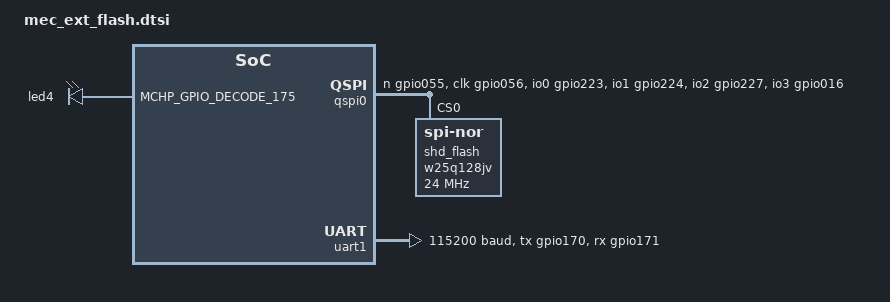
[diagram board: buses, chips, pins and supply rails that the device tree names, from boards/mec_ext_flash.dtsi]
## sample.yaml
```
tests:
  boards.mchp_mec.qspi:
    build_only: true
    platform_allow:
      - mec_assy6906/mech1723_nsz
      - mec_assy6906/mech1723_nlj
      - mec_assy6941/mec1743_qlj
      - mec_assy6941/mec1743_qsz
      - mec_assy6941/mec1753_qlj
      - mec_assy6941/mec1753_qsz
    tags: drivers spi
```

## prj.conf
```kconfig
CONFIG_LOG=y
CONFIG_LOG_MODE_IMMEDIATE=y
##CONFIG_LOG_MODE_MINIMAL=y
#CONFIG_LOG_MODE_DEFERRED=y
#CONFIG_LOG_BUFFER_SIZE=2048
CONFIG_LOG_BACKEND_UART=y
#CONFIG_LOG_BACKEND_SWO=y
#CONFIG_LOG_BACKEND_SWO_REF_FREQ_HZ=96000000
#CONFIG_LOG_BACKEND_SWO_FREQ_HZ=4000000

CONFIG_GPIO=y
CONFIG_PINCTRL=y
CONFIG_LED=y
CONFIG_SERIAL=y
CONFIG_CONSOLE=y
CONFIG_UART_CONSOLE=y

CONFIG_SPI=y
CONFIG_SPI_ASYNC=y
CONFIG_SPI_EXTENDED_MODES=y

# SPI NOR driver uses SPI driver to access flash device
CONFIG_FLASH=y
CONFIG_SPI_NOR=y
CONFIG_FLASH_JESD216_API=y

# CONFIG_PM=n

# Help debug new code
# CONFIG_DEBUG_COREDUMP=y
# CONFIG_TRAP_UNALIGNED_ACCESS=y
CONFIG_DEBUG=y
```

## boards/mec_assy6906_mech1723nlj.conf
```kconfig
# MECH1723N-LJ package does not include an internal SPI flash.
# We use the Microchip assembly 6xxx dongle connected to EVB J18.
# The dongle has a Winbond W25Q128JV SPI flash which supports SFDP
# and quad mode.
CONFIG_SPI_NOR_SFDP_MINIMAL=y
```

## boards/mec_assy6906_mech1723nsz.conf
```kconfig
# MECH1723N-SZ package does not include an internal SPI flash.
# We use the Microchip assembly 6xxx dongle connected to EVB J18.
# The dongle has a Winbond W25Q128JV SPI flash which supports SFDP
# and quad mode.
CONFIG_SPI_NOR_SFDP_MINIMAL=y
```

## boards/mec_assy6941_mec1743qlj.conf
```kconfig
# MEC1743Q-LJ package does not include an internal SPI flash.
# We use the Microchip assembly 6xxx dongle connected to EVB J18.
# The dongle has a Winbond W25Q128JV SPI flash which supports SFDP
# and quad mode.
CONFIG_SPI_NOR_SFDP_MINIMAL=y
```

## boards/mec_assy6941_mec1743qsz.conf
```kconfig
# MEC1743Q-SZ package does not include an internal SPI flash.
# We use the Microchip assembly 6xxx dongle connected to EVB J18.
# The dongle has a Winbond W25Q128JV SPI flash which supports SFDP
# and quad mode.
CONFIG_SPI_NOR_SFDP_MINIMAL=y
```

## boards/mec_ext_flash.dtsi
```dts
/*
 * Copyright (c) 2024 Microchip Technology Inc.
 *
 * SPDX-License-Identifier: Apache-2.0
 */

#include <zephyr/dt-bindings/gpio/gpio.h>
#include <zephyr/dt-bindings/gpio/microchip-xec-gpio.h>
#include <zephyr/dt-bindings/pinctrl/mchp-xec-pinctrl.h>

/*
 * MEC5_ASSY6941 EVT with MEC1743, MEC5402, or MEC5502
 * SPI flash dongle Assembly 6791 connected to J18
 * Select VTR2 for J18. ???
 * VTR2 set to +3.3V. JP43 1-2, J68 1-2, JP62 1-2, JP65 1-2
 *
 * Flash dongle has Winbond W25Q128JV
 * Flash dongle using QSPI shared SPI pins.
 * NOTE: If W25Q128JV Quad-Enable STATUS2 bit is 1 then nWP and nHOLD
 * signals are IO2/IO3. No write-protect or hold functionality.
 *
 * GPIO175/CMP_VOUT1/PWM8_ALT on schematic, LED4 on silkscreen.
 */

/ {
	chosen {
		zephyr,console = &uart1;
	};

	aliases {
		spi0 = &qspi0;
		led0 = &led4;
		spi-flash = &shd_flash;
		spi-flash-wp = &qspi_shd_io2_gpio227;
	};

	leds {
		compatible = "gpio-leds";
		led4: led_0 {
			gpios = <MCHP_GPIO_DECODE_175 GPIO_ACTIVE_HIGH>;
		};
	};
};

&qspi0 {
	compatible="microchip,mec5-qspi";
	status = "okay";
	pinctrl-0 = < &qspi_shd_cs0_n_gpio055 &qspi_shd_clk_gpio056
		      &qspi_shd_io0_gpio223 &qspi_shd_io1_gpio224
		      &qspi_shd_io2_gpio227 &qspi_shd_io3_gpio016 >;
	pinctrl-names = "default";

	shd_flash: w25q128jv@0 {
		compatible ="jedec,spi-nor";
		/* 16 Mbit Flash */
		size = <DT_SIZE_M(16)>;
		page-size = <256>;
		reg = <0>;
		spi-max-frequency = <DT_FREQ_M(24)>;
		status = "okay";
		jedec-id = [ef 40 18];
	};
};

&uart1 {
	current-speed = <115200>;
	status = "okay";
	pinctrl-0 = <&uart1_tx_gpio170 &uart1_rx_gpio171>;
	pinctrl-names = "default";
};
```

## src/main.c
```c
/*
 * Copyright (c) 2012-2014 Wind River Systems, Inc.
 * Copyright (c) 2024 Microchip Technology, Inc.
 *
 * SPDX-License-Identifier: Apache-2.0
 */

#include <errno.h>
#include <stdint.h>
#include <string.h>
#include <soc.h>

#include <zephyr/device.h>
#include <zephyr/devicetree.h>
#include <zephyr/kernel.h>
#include <zephyr/drivers/flash.h>
#include <zephyr/drivers/gpio.h>
#include <zephyr/drivers/led.h>
#include <zephyr/drivers/pinctrl.h>
#include <zephyr/drivers/spi.h>
#include <zephyr/sys/sys_io.h>

#include <zephyr/logging/log_ctrl.h>
#include <zephyr/logging/log.h>
LOG_MODULE_REGISTER(app, CONFIG_LOG_DEFAULT_LEVEL);

#include <mec_rom_api.h>

#define MEC540X_ROM_OTP_92_IDX 92u
#define MEC540X_ROM_OTP_94_IDX 94u

#define FLASH_TEST_PAGE_ADDR 0x1000u
#define LED0_NODE DT_ALIAS(led0)
#define FLASH_SIZE_MBIT DT_PROP(DT_ALIAS(spi_flash), size)
#define FLASH_SIZE_BYTES (FLASH_SIZE_MBIT / 8u)
#define SPI0_LINES DT_PROP(DT_ALIAS(spi0), lines)

static const struct gpio_dt_spec led0_gpio_spec = GPIO_DT_SPEC_GET(LED0_NODE, gpios);

static const struct device *spi_dev = DEVICE_DT_GET(DT_ALIAS(spi0));
static const struct device *spi_flash_dev = DEVICE_DT_GET(DT_ALIAS(spi_flash));

static const uint8_t spi_flash_page0_data[] = {
	0x00, 0x01, 0x02, 0x03, 0x04, 0x05, 0x06, 0x07,
	0x08, 0x09, 0x0a, 0x0b, 0x0c, 0x0d, 0x0e, 0x0f,
	0x10, 0x11, 0x12, 0x13, 0x14, 0x15, 0x16, 0x17,
	0x18, 0x19, 0x1a, 0x1b, 0x1c, 0x1d, 0x1e, 0x1f,
	0x20, 0x21, 0x22, 0x23, 0x24, 0x25, 0x26, 0x27,
	0x28, 0x29, 0x2a, 0x2b, 0x2c, 0x2d, 0x2e, 0x2f,
	0x30, 0x31, 0x32, 0x33, 0x34, 0x35, 0x36, 0x37,
	0x38, 0x39, 0x3a, 0x3b, 0x3c, 0x3d, 0x3e, 0x3f,
	0x40, 0x41, 0x42, 0x43, 0x44, 0x45, 0x46, 0x47,
	0x48, 0x49, 0x4a, 0x4b, 0x4c, 0x4d, 0x4e, 0x4f,
	0x50, 0x51, 0x52, 0x53, 0x54, 0x55, 0x56, 0x57,
	0x58, 0x59, 0x5a, 0x5b, 0x5c, 0x5d, 0x5e, 0x5f,
	0x60, 0x61, 0x62, 0x63, 0x64, 0x65, 0x66, 0x67,
	0x68, 0x69, 0x6a, 0x6b, 0x6c, 0x6d, 0x6e, 0x6f,
	0x70, 0x71, 0x72, 0x73, 0x74, 0x75, 0x76, 0x77,
	0x78, 0x79, 0x7a, 0x7b, 0x7c, 0x7d, 0x7e, 0x7f,
	0x80, 0x81, 0x82, 0x83, 0x84, 0x85, 0x86, 0x87,
	0x88, 0x89, 0x8a, 0x8b, 0x8c, 0x8d, 0x8e, 0x8f,
	0x90, 0x91, 0x92, 0x93, 0x94, 0x95, 0x96, 0x97,
	0x98, 0x99, 0x9a, 0x9b, 0x9c, 0x9d, 0x9e, 0x9f,
	0xa0, 0xa1, 0xa2, 0xa3, 0xa4, 0xa5, 0xa6, 0xa7,
	0xa8, 0xa9, 0xaa, 0xab, 0xac, 0xad, 0xae, 0xaf,
	0xb0, 0xb1, 0xb2, 0xb3, 0xb4, 0xb5, 0xb6, 0xb7,
	0xb8, 0xb9, 0xba, 0xbb, 0xbc, 0xbd, 0xbe, 0xbf,
	0xc0, 0xc1, 0xc2, 0xc3, 0xc4, 0xc5, 0xc6, 0xc7,
	0xc8, 0xc9, 0xca, 0xcb, 0xcc, 0xcd, 0xce, 0xcf,
	0xd0, 0xd1, 0xd2, 0xd3, 0xd4, 0xd5, 0xd6, 0xd7,
	0xd8, 0xd9, 0xda, 0xdb, 0xdc, 0xdd, 0xde, 0xdf,
	0xe0, 0xe1, 0xe2, 0xe3, 0xe4, 0xe5, 0xe6, 0xe7,
	0xe8, 0xe9, 0xea, 0xeb, 0xec, 0xed, 0xee, 0xef,
	0xf0, 0xf1, 0xf2, 0xf3, 0xf4, 0xf5, 0xf6, 0xf7,
	0xf8, 0xf9, 0xfa, 0xfb, 0xfc, 0xfd, 0xfe, 0xff,
};

const struct spi_config spi_cfg_fd_12m = {
	.frequency = MHZ(12),
	.operation = SPI_WORD_SET(8) | SPI_LINES_SINGLE,
};

#ifdef CONFIG_SPI_EXTENDED_MODES
const struct spi_config spi_cfg_dual_12m = {
	.frequency = MHZ(12),
	.operation = SPI_WORD_SET(8) | SPI_LINES_DUAL,
};

const struct spi_config spi_cfg_quad_12m = {
	.frequency = MHZ(12),
	.operation = SPI_WORD_SET(8) | SPI_LINES_QUAD,
};
#endif

static struct spi_config spi_cfg;
static volatile uint32_t spin_val;
static volatile int ret_val;

static void spin_on(uint32_t id, int rval);
static int spi_flash_read_status(int status_reg, uint8_t *status);
static int spi_flash_write_status(int status_reg, uint8_t status);
int buffer_filled_with(const uint8_t *buffer, size_t buffersz, uint8_t val);

struct spi_buf_set txbs;
struct spi_buf_set rxbs;
struct spi_buf txb[4];
struct spi_buf rxb[4];

uint8_t buf1[256];
uint8_t buf2[256];
uint8_t sector_buf[4096];

int main(void)
{
	size_t nflash_pages = 0;
	size_t flash_min_wr_block_size = 0;
	int ret, erased;
	uint32_t jedec_id, spi_addr;
#ifdef CONFIG_SPI_EXTENDED_MODES
	int ret2, ret3, ret4;
#endif
	uint16_t otp_index;
	uint8_t otp_data, spi_status;

	LOG_INF("MEC5 QSPI sample: board: %s", DT_N_P_compatible_IDX_0);

	jedec_id = mec_hal_rom_version();
	LOG_INF("ROM version = 0x%08x", jedec_id);

	otp_index = MEC540X_ROM_OTP_92_IDX;
	otp_data = 0xffu;
	ret = mec_hal_rom_otp_read_byte(otp_index, &otp_data);
	if (ret) {
		LOG_ERR("ROM Read OTP[%u] error: %d", otp_index, ret);
	} else {
		LOG_INF("ROM OTP[%u] = 0x%02x", otp_index, otp_data);
	}

	otp_index = MEC540X_ROM_OTP_94_IDX;
	otp_data = 0xffu;
	ret = mec_hal_rom_otp_read_byte(otp_index, &otp_data);
	if (ret) {
		LOG_ERR("ROM Read OTP[%u] error: %d", otp_index, ret);
	} else {
		LOG_INF("ROM OTP[%u] = 0x%02x", otp_index, otp_data);
	}

	erased = 0;
	memset(txb, 0, sizeof(txb));
	memset(rxb, 0, sizeof(rxb));

	if (!gpio_is_ready_dt(&led0_gpio_spec)) {
		LOG_ERR("GPIO LED device is not ready! (%d)", -2);
		spin_on(1u, -2);
	}

	if (!device_is_ready(spi_dev)) {
		LOG_ERR("SPI device is not ready! (%d)", -3);
		spin_on(2u, -3);
	}

	if (!device_is_ready(spi_flash_dev)) {
		LOG_ERR("Flash device is not ready! (%d)", -3);
		spin_on(3u, -3);
	}

	ret = gpio_pin_configure_dt(&led0_gpio_spec, GPIO_OUTPUT_ACTIVE);
	if (ret) {
		LOG_ERR("LED GPIO configuration error (%d)", ret);
		spin_on(4u, ret);
	}

	gpio_pin_toggle_dt(&led0_gpio_spec);
	k_sleep(K_MSEC(1000));
	gpio_pin_toggle_dt(&led0_gpio_spec);
	k_sleep(K_MSEC(1000));
	gpio_pin_toggle_dt(&led0_gpio_spec);

	nflash_pages = flash_get_page_count(spi_flash_dev);
	LOG_INF("Number of flash pages = %u", nflash_pages);

	flash_min_wr_block_size = flash_get_write_block_size(spi_flash_dev);
	LOG_INF("Flash minimum write block size = %u", flash_min_wr_block_size);

	const struct flash_parameters *flash_params = flash_get_parameters(spi_flash_dev);

	if (!flash_params) {
		LOG_ERR("Flash get parameters failed %d", ret);
		spin_on(5u, ret);
	}

	LOG_INF("Flash write block size = 0x%0x  erase value = 0x%02x",
		flash_params->write_block_size, flash_params->erase_value);

	LOG_INF("Read JEDEC ID from flash");
	jedec_id = 0;
	ret = flash_read_jedec_id(spi_flash_dev, (uint8_t *)&jedec_id);
	if (ret) {
		LOG_ERR("Flash JEDEC ID read failed: %d", ret);
		spin_on(6u, ret);
	}
	LOG_HEXDUMP_INF(&jedec_id, 3, "JEDEC-ID");

#ifndef CONFIG_SPI_NOR_SFDP_DEVICETREE
	memset(buf1, 0x55, sizeof(buf1));
	LOG_INF("Read first 64-bytes of SFDP data from flash");
	ret = flash_sfdp_read(spi_flash_dev, 0, buf1, 64u);
	if (ret) {
		LOG_ERR("Flash SFDP read failed: %d", ret);
		spin_on(7u, ret);
	}

	LOG_HEXDUMP_INF(&buf1, 64, "SFDP data");
#endif

	spi_status = 0x80u;
	ret = spi_flash_read_status(1, &spi_status);
	if (ret) {
		LOG_ERR("Read SPI flash status using SPI driver error: %d", ret);
		goto app_exit;
	}
	LOG_INF("SPI Flash STATUS1 = 0x%02x", spi_status);

	if (jedec_id == 0x001840efu) {
		ret = spi_flash_read_status(2, &spi_status);
		if (ret) {
			LOG_ERR("Read SPI flash status 2 using SPI driver error: %d", ret);
			goto app_exit;
		}
		LOG_INF("SPI Flash STATUS2 = 0x%02x", spi_status);

		ret = spi_flash_read_status(3, &spi_status);
		if (ret) {
			LOG_ERR("Read SPI flash status 3 using SPI driver error: %d", ret);
			goto app_exit;
		}
		LOG_INF("SPI Flash STATUS3 = 0x%02x", spi_status);

		if (spi_status & BIT(2)) { /* WPS set? */
			/* clear it to factory default */
			LOG_INF("WPS(bit[2]) is set. Clear it to factory default");
			ret = spi_flash_write_status(3, spi_status & ~BIT(2));
			if (ret) {
				goto app_exit;
			}
		}
	}

	spi_addr = 0;
	for (size_t n = 0; n < (FLASH_SIZE_BYTES / 4096); n++) {
		LOG_INF("Check sector at 0x%0x", spi_addr);
		memset(sector_buf, 0x55, 4096u);
		spi_addr &= 0xfffff000u;
		ret = flash_read(spi_flash_dev, spi_addr, sector_buf, 4096u);
		if (ret) {
			LOG_ERR("Flash sector read failed %d", ret);
			goto app_exit;
		}
		erased = 1;
		for (size_t m = 0; m < 4096; m++) {
			if (sector_buf[m] != 0xffu) {
				erased = 0;
				break;
			}
		}
		if (erased) {
			LOG_INF("  Sector erased");
		} else {
			LOG_INF("  Sector NOT in erased state");
		}
		spi_addr += 4096u;
	}

	memset(buf2, 0x55, sizeof(buf2));

	spi_addr = 0u;
	LOG_INF("Read Page 0 using Flash driver and check if in erased state");
	ret = flash_read(spi_flash_dev, spi_addr, buf2, 256u);
	if (ret) {
		LOG_ERR("Flash read error %d", ret);
		goto app_exit;
	}

	ret = buffer_filled_with((const uint8_t *)buf2, 256u, 0xffu);
	if (ret) {
		LOG_ERR("Page 0 not erased!");
	} else {
		LOG_INF("Page 0 is erased");
	}

	if (ret) {
		spi_addr = 0; /* Erase Sector 0 to eliminate Boot-ROM TAGs */
		LOG_INF("Erase 4KB sector 0");
		ret = flash_erase(spi_flash_dev, spi_addr, 4096u);
		if (ret) {
			LOG_ERR("Flash erase sector 0 error %d", ret);
			goto app_exit;
		}

		memset(buf2, 0x55, sizeof(buf2));
		LOG_INF("Read Page 0 using Flash driver and check if in erased state");
		ret = flash_read(spi_flash_dev, spi_addr, buf2, 256u);
		if (ret) {
			LOG_ERR("Flash read error %d", ret);
			goto app_exit;
		}

		ret = buffer_filled_with((const uint8_t *)buf2, 256u, 0xffu);
		if (ret) {
			LOG_ERR("Page 0 not erased!");
			goto app_exit;
		} else {
			LOG_INF("Page 0 is erased");
		}
	}

	spi_addr = FLASH_TEST_PAGE_ADDR;
	/* Erase sector containing test page */
	LOG_INF("Erase 4KB sector containing test page at 0x%0x", spi_addr);
	ret = flash_erase(spi_flash_dev, spi_addr, 4096u);
	if (ret) {
		LOG_ERR("Flash erase page error %d", ret);
		goto app_exit;
	}

	memset(buf2, 0x55, sizeof(buf2));
	LOG_INF("Read test page using Flash driver and check if in erased state");
	ret = flash_read(spi_flash_dev, spi_addr, buf2, 256u);
	if (ret) {
		LOG_ERR("Flash read error %d", ret);
		goto app_exit;
	}

	ret = buffer_filled_with((const uint8_t *)buf2, 256u, 0xffu);
	if (ret) {
		LOG_ERR("Page not in erased state!");
		goto app_exit;
	}

	/* Write test page with known pattern */
	LOG_INF("Write known pattern to page at 0x%0x", spi_addr);
	ret = flash_write(spi_flash_dev, spi_addr, spi_flash_page0_data, 256u);
	if (ret) {
		LOG_ERR("Flash write page error %d", ret);
		goto app_exit;
	}

	memset(buf2, 0x55, sizeof(buf2));
	LOG_INF("Read test page using Flash driver and check validity");
	ret = flash_read(spi_flash_dev, spi_addr, buf2, 256u);
	if (ret) {
		LOG_ERR("Flash read error %d", ret);
		goto app_exit;
	}

	ret = memcmp(spi_flash_page0_data, buf2, 256);
	if (ret) {
		LOG_ERR("!!! Flash driver read back of page data mismatch !!!");
		goto app_exit;
	} else {
		LOG_INF("Flash driver read back of page data matches");
	}

	LOG_INF("Read test page using SPI driver with full-duplex style buffers");
	spi_cfg.frequency = MHZ(12);
	spi_cfg.operation = SPI_WORD_SET(8) | SPI_LINES_SINGLE;

	/* read 256 bytes: this method requires the second transmit buffer
	 * to be 256 bytes in size. We re-use the rx buffer.
	 */
	memset(buf2, 0x55, sizeof(buf2));
	buf1[0] = 0x03u; /* SPI Read 1-1-1-0 */
	buf1[1] = (spi_addr >> 16) & 0xffu;
	buf1[2] = (spi_addr >> 8) & 0xffu;
	buf1[3] = spi_addr & 0xffu;

	txb[0].buf = buf1;
	txb[0].len = 4u;
	txb[1].buf = buf2;
	txb[1].len = 256u;

	rxb[0].buf = buf2;
	rxb[0].len = 4u;
	rxb[1].buf = buf2;
	rxb[1].len = 256u;

	txbs.buffers = &txb[0];
	txbs.count = 2;
	rxbs.buffers = &rxb[0];
	rxbs.count = 2;

	ret = spi_transceive(spi_dev, (const struct spi_config *)&spi_cfg, &txbs, &rxbs);
	LOG_INF("SPI xfr 1 returned (%d)", ret);

	ret = memcmp(spi_flash_page0_data, buf2, 256u);
	LOG_INF("Compare to expected (%d)", ret);

	/* read 256 bytes: Requires modified SPI driver which interprets buffers
	 * with NULL ptr and non-zero length as: TX don't drive TX lines (0)
	 * RX discard data
	 */
	LOG_INF("Read test page using SPI driver with full-duplex NULL buffer technique");

	memset(buf2, 0x55, sizeof(buf2));
	buf1[0] = 0x03u; /* SPI Read 1-1-1-0 */
	buf1[1] = (spi_addr >> 16) & 0xffu;
	buf1[2] = (spi_addr >> 8) & 0xffu;
	buf1[3] = spi_addr & 0xffu;

	txb[0].buf = buf1;
	txb[0].len = 4u;
	txb[1].buf = NULL;
	txb[1].len = 256u;

	rxb[0].buf = NULL;
	rxb[0].len = 4u;
	rxb[1].buf = buf2;
	rxb[1].len = 256u;

	txbs.buffers = &txb[0];
	txbs.count = 2;
	rxbs.buffers = &rxb[0];
	rxbs.count = 2;

	ret = spi_transceive(spi_dev, (const struct spi_config *)&spi_cfg, &txbs, &rxbs);
	LOG_INF("SPI xfr 2 returned (%d)", ret);

	/* Passed */
	ret = memcmp(spi_flash_page0_data, buf2, 256u);
	LOG_INF("Compare to expected (%d)", ret);

#ifdef CONFIG_SPI_EXTENDED_MODES
	/* Read 8 bytes using SPI flash dual. SPI flash read opcode = 0x3B.
	 * Requires opcode, address, and 8 clocks with I/O lines tri-stated.
	 * Opcode and address transmitted in full-duplex mode
	 * 8 tri-state clocks require I/O lines tri-stated.
	 * Data is received on both I/O lines (half-duplex operation).
	 * SPI driver requires a new struct spi_config with dual lines.
	 * Driver must be built with CONFIG_SPI_EXTENDED_MODES=y
	 */
	LOG_INF("Read first 8 bytes of test page using SPI driver using 1-1-2-8 (dual) opcode");

	memset(buf2, 0x55, sizeof(buf2));
	buf1[0] = 0x3bu; /* SPI Read 1-1-2-8 */
	buf1[1] = (spi_addr >> 16) & 0xffu;
	buf1[2] = (spi_addr >> 8) & 0xffu;
	buf1[3] = spi_addr & 0xffu;

	txb[0].buf = buf1;
	txb[0].len = 4u;
	txb[1].buf = NULL;
	txb[1].len = 8; /* Tri-state clocks. len = number of clocks */

	rxb[0].buf = NULL;
	rxb[0].len = 4u;
	rxb[1].buf = NULL;
	rxb[1].len = 8u;

	txbs.buffers = &txb[0];
	txbs.count = 2;
	rxbs.buffers = &rxb[0];
	rxbs.count = 2;

	/* struct spi_config must be writeable.
	 * We use SPI_HOLD_ON_CS to instruct the driver to keep CS# asserted.
	 * We will clear SPI_HOLD_ON_CS on the last driver call.
	 * We use SPI_LOCK_ON to keep the SPI context semaphore owned by this
	 * spi_context to prevent other thread from being able to use the controller.
	 * We use API spi_release() to release the lock after transaction is completed.
	 */
	spi_cfg.operation |= SPI_HOLD_ON_CS | SPI_LOCK_ON;

	ret = spi_transceive(spi_dev, (const struct spi_config *)&spi_cfg, &txbs, &rxbs);

	rxb[0].buf = buf2;
	rxb[0].len = 8u;

	rxbs.buffers = &rxb[0];
	rxbs.count = 1;

	spi_cfg.operation &= ~(SPI_HOLD_ON_CS | SPI_LINES_MASK);
	spi_cfg.operation |= SPI_LINES_DUAL;

	ret2 = spi_transceive(spi_dev, (const struct spi_config *)&spi_cfg, NULL, &rxbs);

	ret3 = spi_release(spi_dev, (const struct spi_config *)&spi_cfg);

	ret4 = memcmp(spi_flash_page0_data, buf2, 8u);
	LOG_INF("Dual read of 8 bytes returns: (%d) (%d) (%d) (%d)", ret, ret2, ret3, ret4);

	/* Dual read 256 bytes */
	LOG_INF("Read test page using SPI driver using 1-1-2-8 (dual) opcode");
	spi_cfg.operation = SPI_WORD_SET(8) | SPI_LINES_SINGLE;

	memset(buf2, 0x55, sizeof(buf2));
	buf1[0] = 0x3bu; /* SPI Read 1-1-2-8 */
	buf1[1] = (spi_addr >> 16) & 0xffu;
	buf1[2] = (spi_addr >> 8) & 0xffu;
	buf1[3] = spi_addr & 0xffu;

	txb[0].buf = buf1;
	txb[0].len = 4u;
	txb[1].buf = NULL;
	txb[1].len = 8; /* number of tri-state clocks */

	rxb[0].buf = NULL;
	rxb[0].len = 4u;
	rxb[1].buf = NULL;
	rxb[1].len = 8; /* number of tri-state clocks */

	txbs.buffers = &txb[0];
	txbs.count = 2;
	rxbs.buffers = &rxb[0];
	rxbs.count = 2;

	spi_cfg.operation |= SPI_HOLD_ON_CS | SPI_LOCK_ON;
	ret = spi_transceive(spi_dev, (const struct spi_config *)&spi_cfg, &txbs, &rxbs);

	rxb[0].buf = buf2;
	rxb[0].len = 256u;

	rxbs.buffers = &rxb[0];
	rxbs.count = 1;

	spi_cfg.operation &= ~(SPI_HOLD_ON_CS | SPI_LINES_MASK);
	spi_cfg.operation |= SPI_LINES_DUAL;

	ret2 = spi_transceive(spi_dev, (const struct spi_config *)&spi_cfg, NULL, &rxbs);

	ret3 = spi_release(spi_dev, (const struct spi_config *)&spi_cfg);

	ret4 = memcmp(spi_flash_page0_data, buf2, 256u);
	LOG_INF("Dual read of 256 bytes returns: (%d) (%d) (%d) (%d)", ret, ret2, ret3, ret4);

#if SPI0_LINES == 4
	LOG_INF("Test Quad read. Will fail if SPI flash's QE bit is not set!");
	/* Quad read 256 bytes */
	spi_cfg.operation = SPI_WORD_SET(8) | SPI_LINES_SINGLE;

	memset(buf2, 0x55, sizeof(buf2));
	buf1[0] = 0x6bu; /* SPI Read 1-1-4-8 */
	buf1[1] = (spi_addr >> 16) & 0xffu;
	buf1[2] = (spi_addr >> 8) & 0xffu;
	buf1[3] = spi_addr & 0xffu;

	txb[0].buf = buf1;
	txb[0].len = 4u;
	txb[1].buf = NULL;
	txb[1].len = 8;

	rxb[0].buf = NULL;
	rxb[0].len = 4u;
	rxb[1].buf = NULL;
	rxb[1].len = 8u; /* number of tri-state clocks */

	txbs.buffers = &txb[0];
	txbs.count = 2;
	rxbs.buffers = &rxb[0];
	rxbs.count = 2;

	spi_cfg.operation |= SPI_HOLD_ON_CS | SPI_LOCK_ON;
	ret = spi_transceive(spi_dev, (const struct spi_config *)&spi_cfg, &txbs, &rxbs);

	rxb[0].buf = buf2;
	rxb[0].len = 256u;

	rxbs.buffers = &rxb[0];
	rxbs.count = 1;

	spi_cfg.operation &= ~(SPI_HOLD_ON_CS | SPI_LINES_MASK);
	spi_cfg.operation |= SPI_LINES_QUAD;

	ret2 = spi_transceive(spi_dev, (const struct spi_config *)&spi_cfg, NULL, &rxbs);
	ret3 = spi_release(spi_dev, (const struct spi_config *)&spi_cfg);

	ret4 = memcmp(spi_flash_page0_data, buf2, 256u);
	LOG_INF("Quad read of 256 bytes returns: (%d) (%d) (%d) (%d)",
		ret, ret2, ret3, ret4);
#endif /* #if SPI0_LINES == 4 */
#endif /* CONFIG_SPI_EXTENDED_MODES */

app_exit:
	LOG_INF("Application Done (%d)", ret);
	spin_on(256, 0);

	return 0;
}

static void spin_on(uint32_t id, int rval)
{
	spin_val = id;
	ret_val = rval;

	log_panic(); /* flush log buffers */

	while (spin_val) {
		;
	}
}

static int spi_flash_read_status(int status_reg, uint8_t *status)
{
	uint8_t txdata[4] = {0};
	uint8_t rxdata[4] = {0};
	int ret = 0;

	if (!status) {
		return -EINVAL;
	}

	if (status_reg == 1) {
		txdata[0] = 0x05u;
	} else if (status_reg == 2) {
		txdata[0] = 0x35u;
	} else if (status_reg == 3) {
		txdata[0] = 0x15u;
	} else {
		return -EINVAL;
	}

	txb[0].buf = txdata;
	txb[0].len = 2u;
	rxb[0].buf = rxdata;
	rxb[0].len = 2u;

	txbs.buffers = &txb[0];
	txbs.count = 1;
	rxbs.buffers = &rxb[0];
	rxbs.count = 1;

	ret = spi_transceive(spi_dev, &spi_cfg_fd_12m, &txbs, &rxbs);
	if (!ret) {
		*status = rxdata[1];
	}

	return ret;
}

static int spi_flash_write_status(int status_reg, uint8_t status)
{
	uint8_t txdata[4] = {0};
	uint8_t rxdata[4] = {0};
	int ret = 0;
	uint8_t opcode;

	if (!status) {
		return -EINVAL;
	}

	/* Send Write-Enable */
	txdata[0] = 0x06u;
	txb[0].buf = txdata;
	txb[0].len = 1u;
	rxb[0].buf = rxdata;
	rxb[0].len = 1u;

	txbs.buffers = &txb[0];
	txbs.count = 1;
	rxbs.buffers = &rxb[0];
	rxbs.count = 1;

	ret = spi_transceive(spi_dev, &spi_cfg_fd_12m, &txbs, &rxbs);
	if (ret) {
		LOG_ERR("SPI flash write status send write enable error %d", ret);
		return ret;
	}

	if (status_reg == 1) {
		opcode = 0x01u;
	} else if (status_reg == 2) {
		opcode = 0x31u;
	} else if (status_reg == 3) {
		opcode = 0x11u;
	} else {
		return -EINVAL;
	}

	txdata[0] = opcode;
	txdata[1] = status;
	txb[0].buf = txdata;
	txb[0].len = 2u;
	rxb[0].buf = rxdata;
	rxb[0].len = 2u;

	txbs.buffers = &txb[0];
	txbs.count = 1;
	rxbs.buffers = &rxb[0];
	rxbs.count = 1;

	ret = spi_transceive(spi_dev, &spi_cfg_fd_12m, &txbs, &rxbs);
	if (ret) {
		LOG_ERR("SPI flash write status send 0x%02x, 0x%02x: error %d",
			opcode, status, ret);
	}

	return ret;
}

int buffer_filled_with(const uint8_t *buffer, size_t buffersz, uint8_t val)
{
	if (!buffer || !buffersz) {
		return -EINVAL;
	}

	for (size_t n = 0; n < buffersz; n++) {
		if (buffer[n] != val) {
			return -EIO;
		}
	}

	return 0;
}
```
